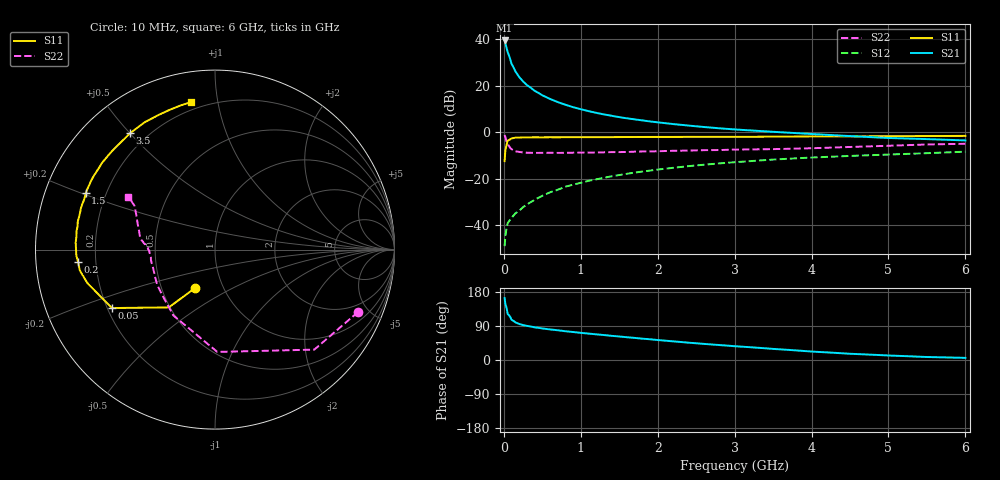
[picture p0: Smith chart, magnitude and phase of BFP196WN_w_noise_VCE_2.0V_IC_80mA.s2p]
! Infineon Technologies  Discrete & RF Semiconductors
! BFP196WN
! VCE =  2.0 V,  IC =  80 mA
! Common Emitter S-Parameters:  Jan 2017
# GHz  S  MA  R  50
!  f  S11  S21  S12  S22
! GHz  MAG  ANG  MAG  ANG  MAG  ANG  MAG  ANG
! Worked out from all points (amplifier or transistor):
!   77 points, 10 MHz to 6 GHz, reference 50 ohm
!   highest |S21| = 39.3 dB at 10 MHz (marker M1)
!   |S21| within 3 dB of that: start of sweep to 34.17 MHz
!   unconditionally stable (mu >= 1): 453 MHz to 2.748 GHz
!   at 130 MHz: K = 0.70, MSG = 31.5 dB, |S12| = -35.5 dB
!   at 2.2 GHz: K = 1.02, MAG = 8.5 dB, |S12| = -15.3 dB
!   at 6 GHz: K = 0.94, MSG = 2.4 dB, |S12| = -8.4 dB
!   lowest NFmin = 1.58 dB at 450 MHz
!   S11 on the Smith chart (normalised r, x): 10 MHz: 0.74, -0.33; 50 MHz: 0.22, -0.25; 200 MHz: 0.13, -0.04; 1.5 GHz: 0.13, +0.20; 3.5 GHz: 0.14, +0.50; 6 GHz: 0.16, +0.84
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0.01  0.2395 -117.3  92.46 163.3  0.0036 74.5  0.8694 -23.6
0.02  0.4123 -128.6  80.57 147.7  0.0059 61.2  0.7852 -45.2
0.05  0.6597 -150.4  51.98 121.6  0.0113 50.8  0.5702 -88.7
0.1  0.7351 -165.3  29.2 106.0  0.0144 51.9  0.4341 -122.3
0.15  0.7622 -171.3  20.1 99.2  0.0182 54.5  0.3886 -139.0
0.2  0.766 -175.0  15.2 95.1  0.0206 61.6  0.3771 -148.5
0.25  0.7734 -177.5  12.23 92.1  0.0247 63.2  0.3686 -154.3
0.3  0.7737 -179.5  10.23 90.0  0.028 65.4  0.3626 -159.1
0.4  0.7774 177.1  7.713 86.2  0.0355 69.0  0.3597 -164.3
0.5  0.7756 174.7  6.178 83.3  0.0432 70.3  0.3608 -168.1
0.6  0.7784 172.3  5.158 80.7  0.0514 70.5  0.3615 -171.0
0.7  0.7765 170.4  4.42 78.5  0.0582 71.9  0.3598 -173.0
0.8  0.7804 168.4  3.87 75.9  0.0678 72.0  0.3608 -174.3
0.9  0.7789 166.4  3.438 73.8  0.0749 70.5  0.3633 -175.7
1.1  0.7819 162.9  2.828 69.7  0.0904 70.6  0.3656 -178.2
1.5  0.7855 156.5  2.102 62.0  0.1204 67.9  0.3741 178.4
2.1  0.7902 146.9  1.558 51.0  0.165 63.1  0.3944 175.2
3.1  0.7949 132.0  1.118 35.1  0.233 53.9  0.4253 169.9
3.5  0.8027 126.1  1.018 29.3  0.2586 50.4  0.4332 167.0
4.1  0.8102 117.7  0.895 21.2  0.2906 44.8  0.458 160.6
5.1  0.8198 107.0  0.742 11.1  0.3357 36.9  0.5178 151.0
6  0.833 99.1  0.665 5.6  0.3817 30.8  0.564 149.0
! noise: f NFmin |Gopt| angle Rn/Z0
0.45  1.58  0.58  -175  0.05
0.9  1.71  0.59  -168  0.07
1.9  2.67  0.7  -146  0.21
2.4  3.48  0.71  -138  0.35
